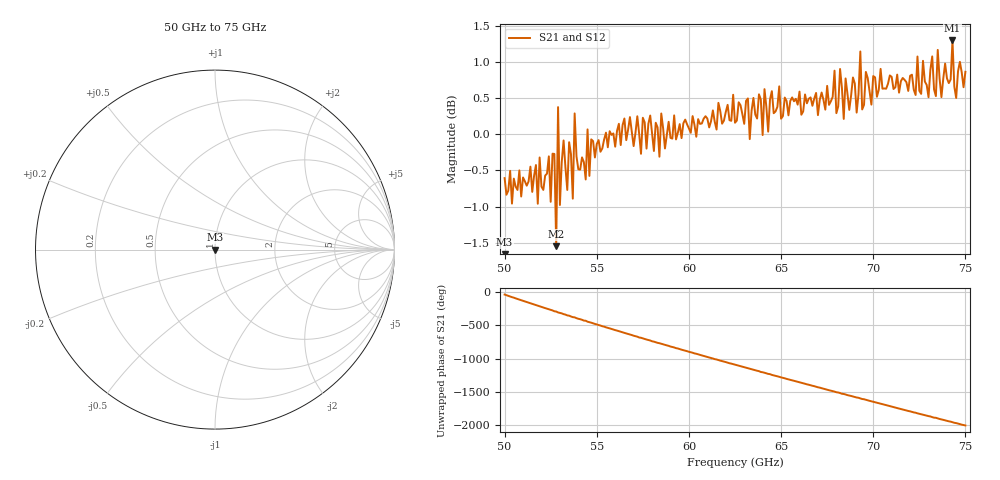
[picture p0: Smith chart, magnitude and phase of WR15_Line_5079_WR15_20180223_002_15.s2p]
# GHZ S RI R 50
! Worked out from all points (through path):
!   251 points, 50 GHz to 75 GHz, reference 50 ohm
!   highest |S21| = 1.30 dB at 74.3 GHz (marker M1); lowest = -1.5 dB at 52.8 GHz (marker M2)
!   lowest |S11| = - dB at 50 GHz (marker M3), VSWR 1.00, Z = 50 + j2.02e-15 ohm
!   |S11| at or under -10 dB: start of sweep to end of sweep
!   |S22| runs from - to - dB; largest |S21 - S12| = 1e-14
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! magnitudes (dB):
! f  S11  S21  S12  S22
! 50 GHz  -  -0.6  -0.6  -
! 52.4 GHz  -  -0.3  -0.3  -
! 52.5 GHz  -  -0.9  -0.9  -
! 52.7 GHz  -  -0.3  -0.3  -
! 52.8 GHz  -  -1.5  -1.5  -
! 52.9 GHz  -  0.4  0.4  -
! 53 GHz  -  -1.0  -1.0  -
! 53.2 GHz  -  -0.1  -0.1  -
! 53.7 GHz  -  -0.9  -0.9  -
! 53.8 GHz  -  0.3  0.3  -
! 54.2 GHz  -  -0.3  -0.3  -
! 58.4 GHz  -  -0.3  -0.3  -
! 58.5 GHz  -  0.3  0.3  -
! 62.5 GHz  -  0.2  0.2  -
! 66.7 GHz  -  0.4  0.4  -
! 70.9 GHz  -  0.8  0.8  -
! 73.4 GHz  -  0.5  0.5  -
! 73.5 GHz  -  1.2  1.2  -
! 73.7 GHz  -  0.5  0.5  -
! 74.3 GHz  -  1.3  1.3  -
! 74.5 GHz  -  0.5  0.5  -
! 75 GHz  -  0.9  0.9  -
